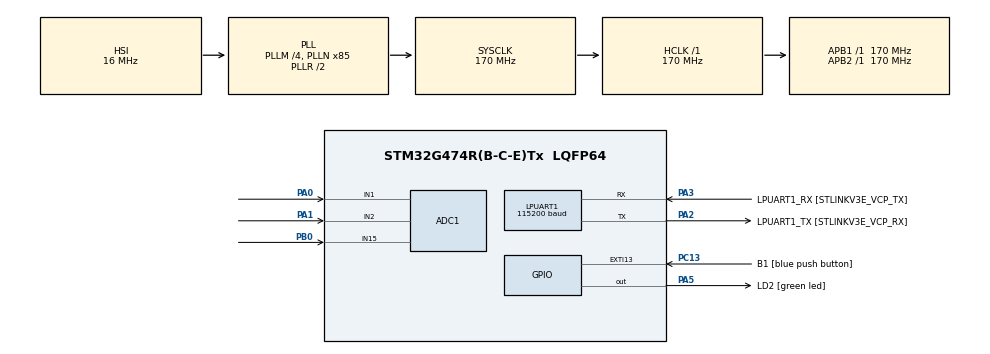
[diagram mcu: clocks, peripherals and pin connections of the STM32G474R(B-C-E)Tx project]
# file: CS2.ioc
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ADC1.Channel-0\#ChannelRegularConversion=ADC_CHANNEL_1
ADC1.Channel-1\#ChannelRegularConversion=ADC_CHANNEL_2
ADC1.Channel-2\#ChannelRegularConversion=ADC_CHANNEL_15
ADC1.ContinuousConvMode=ENABLE
ADC1.DMAContinuousRequests=ENABLE
ADC1.NbrOfConversion=3
ADC1.NbrOfConversionFlag=1
ADC1.OffsetNumber-0\#ChannelRegularConversion=ADC_OFFSET_NONE
ADC1.OffsetNumber-1\#ChannelRegularConversion=ADC_OFFSET_NONE
ADC1.OffsetNumber-2\#ChannelRegularConversion=ADC_OFFSET_NONE
ADC1.Rank-0\#ChannelRegularConversion=1
ADC1.Rank-1\#ChannelRegularConversion=2
ADC1.Rank-2\#ChannelRegularConversion=3
ADC1.SamplingTime-0\#ChannelRegularConversion=ADC_SAMPLETIME_640CYCLES_5
ADC1.SamplingTime-1\#ChannelRegularConversion=ADC_SAMPLETIME_640CYCLES_5
ADC1.SamplingTime-2\#ChannelRegularConversion=ADC_SAMPLETIME_640CYCLES_5
ADC1.master=1
Dma.ADC1.0.Direction=DMA_PERIPH_TO_MEMORY
Dma.ADC1.0.EventEnable=DISABLE
Dma.ADC1.0.Instance=DMA1_Channel1
Dma.ADC1.0.MemDataAlignment=DMA_MDATAALIGN_HALFWORD
Dma.ADC1.0.MemInc=DMA_MINC_ENABLE
Dma.ADC1.0.Mode=DMA_CIRCULAR
Dma.ADC1.0.PeriphDataAlignment=DMA_PDATAALIGN_HALFWORD
Dma.ADC1.0.PeriphInc=DMA_PINC_DISABLE
Dma.ADC1.0.Polarity=HAL_DMAMUX_REQ_GEN_RISING
Dma.ADC1.0.Priority=DMA_PRIORITY_LOW
Dma.ADC1.0.RequestNumber=1
Dma.ADC1.0.SignalID=NONE
Dma.ADC1.0.SyncEnable=DISABLE
Dma.ADC1.0.SyncPolarity=HAL_DMAMUX_SYNC_NO_EVENT
Dma.ADC1.0.SyncRequestNumber=1
Dma.ADC1.0.SyncSignalID=NONE
Dma.Request0=ADC1
LPUART1.BaudRate=115200
LPUART1.WordLength=UART_WORDLENGTH_8B
Mcu.Family=STM32G4
Mcu.Name=STM32G474R(B-C-E)Tx
Mcu.Package=LQFP64
NVIC.ADC1_2_IRQn=true\:0\:0\:false\:false\:true\:true\:true\:true
NVIC.DMA1_Channel1_IRQn=true\:0\:0\:false\:false\:true\:false\:true\:true
NVIC.EXTI15_10_IRQn=true\:0\:0\:false\:false\:true\:true\:true\:true
NVIC.PriorityGroup=NVIC_PRIORITYGROUP_4
PA0.Mode=IN1-Single-Ended
PA0.Signal=ADC1_IN1
PA1.Mode=IN2-Single-Ended
PA1.Signal=ADC1_IN2
PA13.GPIO_Label=T_SWDIO
PA13.Mode=Serial_Wire
PA13.Signal=SYS_JTMS-SWDIO
PA14.GPIO_Label=T_SWCLK
PA14.Mode=Serial_Wire
PA14.Signal=SYS_JTCK-SWCLK
PA2.GPIO_Label=LPUART1_TX [STLINKV3E_VCP_RX]
PA2.Mode=Asynchronous
PA2.Signal=LPUART1_TX
PA3.GPIO_Label=LPUART1_RX [STLINKV3E_VCP_TX]
PA3.Mode=Asynchronous
PA3.Signal=LPUART1_RX
PA5.GPIO_Label=LD2 [green led]
PA5.Signal=GPIO_Output
PB0.Mode=IN15-Single-Ended
PB0.Signal=ADC1_IN15
PB3.GPIO_Label=T_SWO
PB3.Signal=SYS_JTDO-SWO
PC13.GPIO_Label=B1 [blue push button]
PC13.Signal=GPXTI13
PC14-OSC32_IN.Mode=LSE-External-Oscillator
PC14-OSC32_IN.Signal=RCC_OSC32_IN
PC15-OSC32_OUT.Mode=LSE-External-Oscillator
PC15-OSC32_OUT.Signal=RCC_OSC32_OUT
PF0-OSC_IN.Mode=HSE-External-Oscillator
PF0-OSC_IN.Signal=RCC_OSC_IN
PF1-OSC_OUT.Mode=HSE-External-Oscillator
PF1-OSC_OUT.Signal=RCC_OSC_OUT
ProjectManager.HeapSize=0x200
ProjectManager.StackSize=0x400
ProjectManager.TargetToolchain=STM32CubeIDE
RCC.ADC12Freq_Value=170000000
RCC.ADC345Freq_Value=170000000
RCC.AHBFreq_Value=170000000
RCC.APB1Freq_Value=170000000
RCC.APB1TimFreq_Value=170000000
RCC.APB2Freq_Value=170000000
RCC.APB2TimFreq_Value=170000000
RCC.CortexFreq_Value=170000000
RCC.EXTERNAL_CLOCK_VALUE=12288000
RCC.HCLKFreq_Value=170000000
RCC.HSE_VALUE=24000000
RCC.HSI48_VALUE=48000000
RCC.HSI_VALUE=16000000
RCC.PLLM=RCC_PLLM_DIV4
RCC.PLLN=85
RCC.RTCClockSelection=RCC_RTCCLKSOURCE_LSE
RCC.SYSCLKFreq_VALUE=170000000
RCC.SYSCLKSource=RCC_SYSCLKSOURCE_PLLCLK
RCC.USBFreq_Value=170000000
RCC.VCOOutputFreq_Value=340000000
VP_SYS_VS_DBSignals.Mode=DisableDeadBatterySignals
board=NUCLEO-G474RE

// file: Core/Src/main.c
/* USER CODE BEGIN Header */
/**
  ******************************************************************************
  * @file           : main.c
  * @brief          : Main program body
  ******************************************************************************
  * @attention
  *
  * Copyright (c) 2025 STMicroelectronics.
  * All rights reserved.
  *
  * This software is licensed under terms that can be found in the LICENSE file
  * in the root directory of this software component.
  * If no LICENSE file comes with this software, it is provided AS-IS.
  *
  ******************************************************************************
  */
/* USER CODE END Header */
#include "main.h"

ADC_HandleTypeDef hadc1;
DMA_HandleTypeDef hdma_adc1;

UART_HandleTypeDef hlpuart1;

/* USER CODE BEGIN PV */
uint16_t ADC_RawRead[15]={0};
float ch1;
float ch2;
float ch15;
float ch1avg;
float ch2avg;
float ch15avg;
float ch1mv;
float ch2mv;
float ch15mv;
float ch2per;
float ch15ch1;
/* USER CODE END PV */

void SystemClock_Config(void);
static void MX_GPIO_Init(void);
static void MX_DMA_Init(void);
static void MX_LPUART1_UART_Init(void);
static void MX_ADC1_Init(void);
/* USER CODE BEGIN PFP */
void ADCRead();
/* USER CODE END PFP */

int main(void)
{

  /* MCU Configuration--------------------------------------------------------*/

  /* Reset of all peripherals, Initializes the Flash interface and the Systick. */
  HAL_Init();

  /* Configure the system clock */
  SystemClock_Config();

  /* Initialize all configured peripherals */
  MX_GPIO_Init();
  MX_DMA_Init();
  MX_LPUART1_UART_Init();
  MX_ADC1_Init();
  /* USER CODE BEGIN 2 */
  HAL_ADCEx_Calibration_Start(&hadc1, ADC_SINGLE_ENDED);
  HAL_ADC_Start_DMA(&hadc1, ADC_RawRead, 15);
  /* USER CODE END 2 */

  /* Infinite loop */
  while (1)
  {

    /* USER CODE BEGIN 3 */
	  ADCRead();

  }
  /* USER CODE END 3 */
}

void SystemClock_Config(void)
{
  RCC_OscInitTypeDef RCC_OscInitStruct = {0};
  RCC_ClkInitTypeDef RCC_ClkInitStruct = {0};

  /** Configure the main internal regulator output voltage
  */
  HAL_PWREx_ControlVoltageScaling(PWR_REGULATOR_VOLTAGE_SCALE1_BOOST);

  /** Initializes the RCC Oscillators according to the specified parameters
  * in the RCC_OscInitTypeDef structure.
  */
  RCC_OscInitStruct.OscillatorType = RCC_OSCILLATORTYPE_HSI;
  RCC_OscInitStruct.HSIState = RCC_HSI_ON;
  RCC_OscInitStruct.HSICalibrationValue = RCC_HSICALIBRATION_DEFAULT;
  RCC_OscInitStruct.PLL.PLLState = RCC_PLL_ON;
  RCC_OscInitStruct.PLL.PLLSource = RCC_PLLSOURCE_HSI;
  RCC_OscInitStruct.PLL.PLLM = RCC_PLLM_DIV4;
  RCC_OscInitStruct.PLL.PLLN = 85;
  RCC_OscInitStruct.PLL.PLLP = RCC_PLLP_DIV2;
  RCC_OscInitStruct.PLL.PLLQ = RCC_PLLQ_DIV2;
  RCC_OscInitStruct.PLL.PLLR = RCC_PLLR_DIV2;
  if (HAL_RCC_OscConfig(&RCC_OscInitStruct) != HAL_OK)
  {
    Error_Handler();
  }

  /** Initializes the CPU, AHB and APB buses clocks
  */
  RCC_ClkInitStruct.ClockType = RCC_CLOCKTYPE_HCLK|RCC_CLOCKTYPE_SYSCLK
                              |RCC_CLOCKTYPE_PCLK1|RCC_CLOCKTYPE_PCLK2;
  RCC_ClkInitStruct.SYSCLKSource = RCC_SYSCLKSOURCE_PLLCLK;
  RCC_ClkInitStruct.AHBCLKDivider = RCC_SYSCLK_DIV1;
  RCC_ClkInitStruct.APB1CLKDivider = RCC_HCLK_DIV1;
  RCC_ClkInitStruct.APB2CLKDivider = RCC_HCLK_DIV1;

  if (HAL_RCC_ClockConfig(&RCC_ClkInitStruct, FLASH_LATENCY_4) != HAL_OK)
  {
    Error_Handler();
  }
}

static void MX_ADC1_Init(void)
{

  ADC_MultiModeTypeDef multimode = {0};
  ADC_ChannelConfTypeDef sConfig = {0};

  /** Common config
  */
  hadc1.Instance = ADC1;
  hadc1.Init.ClockPrescaler = ADC_CLOCK_SYNC_PCLK_DIV4;
  hadc1.Init.Resolution = ADC_RESOLUTION_12B;
  hadc1.Init.DataAlign = ADC_DATAALIGN_RIGHT;
  hadc1.Init.GainCompensation = 0;
  hadc1.Init.ScanConvMode = ADC_SCAN_ENABLE;
  hadc1.Init.EOCSelection = ADC_EOC_SINGLE_CONV;
  hadc1.Init.LowPowerAutoWait = DISABLE;
  hadc1.Init.ContinuousConvMode = ENABLE;
  hadc1.Init.NbrOfConversion = 3;
  hadc1.Init.DiscontinuousConvMode = DISABLE;
  hadc1.Init.ExternalTrigConv = ADC_SOFTWARE_START;
  hadc1.Init.ExternalTrigConvEdge = ADC_EXTERNALTRIGCONVEDGE_NONE;
  hadc1.Init.DMAContinuousRequests = ENABLE;
  hadc1.Init.Overrun = ADC_OVR_DATA_PRESERVED;
  hadc1.Init.OversamplingMode = DISABLE;
  if (HAL_ADC_Init(&hadc1) != HAL_OK)
  {
    Error_Handler();
  }

  /** Configure the ADC multi-mode
  */
  multimode.Mode = ADC_MODE_INDEPENDENT;
  if (HAL_ADCEx_MultiModeConfigChannel(&hadc1, &multimode) != HAL_OK)
  {
    Error_Handler();
  }

  /** Configure Regular Channel
  */
  sConfig.Channel = ADC_CHANNEL_1;
  sConfig.Rank = ADC_REGULAR_RANK_1;
  sConfig.SamplingTime = ADC_SAMPLETIME_640CYCLES_5;
  sConfig.SingleDiff = ADC_SINGLE_ENDED;
  sConfig.OffsetNumber = ADC_OFFSET_NONE;
  sConfig.Offset = 0;
  if (HAL_ADC_ConfigChannel(&hadc1, &sConfig) != HAL_OK)
  {
    Error_Handler();
  }

  /** Configure Regular Channel
  */
  sConfig.Channel = ADC_CHANNEL_2;
  sConfig.Rank = ADC_REGULAR_RANK_2;
  if (HAL_ADC_ConfigChannel(&hadc1, &sConfig) != HAL_OK)
  {
    Error_Handler();
  }

  /** Configure Regular Channel
  */
  sConfig.Channel = ADC_CHANNEL_15;
  sConfig.Rank = ADC_REGULAR_RANK_3;
  if (HAL_ADC_ConfigChannel(&hadc1, &sConfig) != HAL_OK)
  {
    Error_Handler();
  }

}

static void MX_LPUART1_UART_Init(void)
{

  hlpuart1.Instance = LPUART1;
  hlpuart1.Init.BaudRate = 115200;
  hlpuart1.Init.WordLength = UART_WORDLENGTH_8B;
  hlpuart1.Init.StopBits = UART_STOPBITS_1;
  hlpuart1.Init.Parity = UART_PARITY_NONE;
  hlpuart1.Init.Mode = UART_MODE_TX_RX;
  hlpuart1.Init.HwFlowCtl = UART_HWCONTROL_NONE;
  hlpuart1.Init.OneBitSampling = UART_ONE_BIT_SAMPLE_DISABLE;
  hlpuart1.Init.ClockPrescaler = UART_PRESCALER_DIV1;
  hlpuart1.AdvancedInit.AdvFeatureInit = UART_ADVFEATURE_NO_INIT;
  if (HAL_UART_Init(&hlpuart1) != HAL_OK)
  {
    Error_Handler();
  }
  if (HAL_UARTEx_SetTxFifoThreshold(&hlpuart1, UART_TXFIFO_THRESHOLD_1_8) != HAL_OK)
  {
    Error_Handler();
  }
  if (HAL_UARTEx_SetRxFifoThreshold(&hlpuart1, UART_RXFIFO_THRESHOLD_1_8) != HAL_OK)
  {
    Error_Handler();
  }
  if (HAL_UARTEx_DisableFifoMode(&hlpuart1) != HAL_OK)
  {
    Error_Handler();
  }

}

static void MX_DMA_Init(void)
{

  /* DMA controller clock enable */
  __HAL_RCC_DMAMUX1_CLK_ENABLE();
  __HAL_RCC_DMA1_CLK_ENABLE();

  /* DMA interrupt init */
  /* DMA1_Channel1_IRQn interrupt configuration */
  HAL_NVIC_SetPriority(DMA1_Channel1_IRQn, 0, 0);
  HAL_NVIC_EnableIRQ(DMA1_Channel1_IRQn);

}

static void MX_GPIO_Init(void)
{
  GPIO_InitTypeDef GPIO_InitStruct = {0};

  /* GPIO Ports Clock Enable */
  __HAL_RCC_GPIOC_CLK_ENABLE();
  __HAL_RCC_GPIOF_CLK_ENABLE();
  __HAL_RCC_GPIOA_CLK_ENABLE();
  __HAL_RCC_GPIOB_CLK_ENABLE();

  /*Configure GPIO pin Output Level */
  HAL_GPIO_WritePin(LD2_GPIO_Port, LD2_Pin, GPIO_PIN_RESET);

  /*Configure GPIO pin : B1_Pin */
  GPIO_InitStruct.Pin = B1_Pin;
  GPIO_InitStruct.Mode = GPIO_MODE_IT_RISING;
  GPIO_InitStruct.Pull = GPIO_NOPULL;
  HAL_GPIO_Init(B1_GPIO_Port, &GPIO_InitStruct);

  /*Configure GPIO pin : LD2_Pin */
  GPIO_InitStruct.Pin = LD2_Pin;
  GPIO_InitStruct.Mode = GPIO_MODE_OUTPUT_PP;
  GPIO_InitStruct.Pull = GPIO_NOPULL;
  GPIO_InitStruct.Speed = GPIO_SPEED_FREQ_LOW;
  HAL_GPIO_Init(LD2_GPIO_Port, &GPIO_InitStruct);

  /* EXTI interrupt init*/
  HAL_NVIC_SetPriority(EXTI15_10_IRQn, 0, 0);
  HAL_NVIC_EnableIRQ(EXTI15_10_IRQn);

}

/* USER CODE BEGIN 4 */
void ADCRead(){
	ch1 = 0;
	ch2 = 0;
	ch15 = 0;
	register int i;
	for (i = 0; i < 15; i++)
	{
		if (i % 3 == 0)
		{
			ch1 += ADC_RawRead[i];
		}
		else if (i % 3 == 1)
		{
			ch2 += ADC_RawRead[i];
		}
		else if (i % 3 == 2)
		{
			ch15 += ADC_RawRead[i];
		}
	}
	ch1avg = ch1/5.0;
	ch2avg = ch2/5.0;
	ch15avg = ch15/5.0;

	ch1mv = (ch1avg/4095.0)*3300.0;
	ch2mv = (ch2avg/4095.0)*3300.0;
	ch15mv = (ch15avg/4095.0)*3300.0;

	ch2per = (ch2avg/4095.0)*100.0;
	ch15ch1 = ch15mv-ch1mv;
}
/* USER CODE END 4 */

void Error_Handler(void)
{
  __disable_irq();
  while (1)
  {
  }
}
